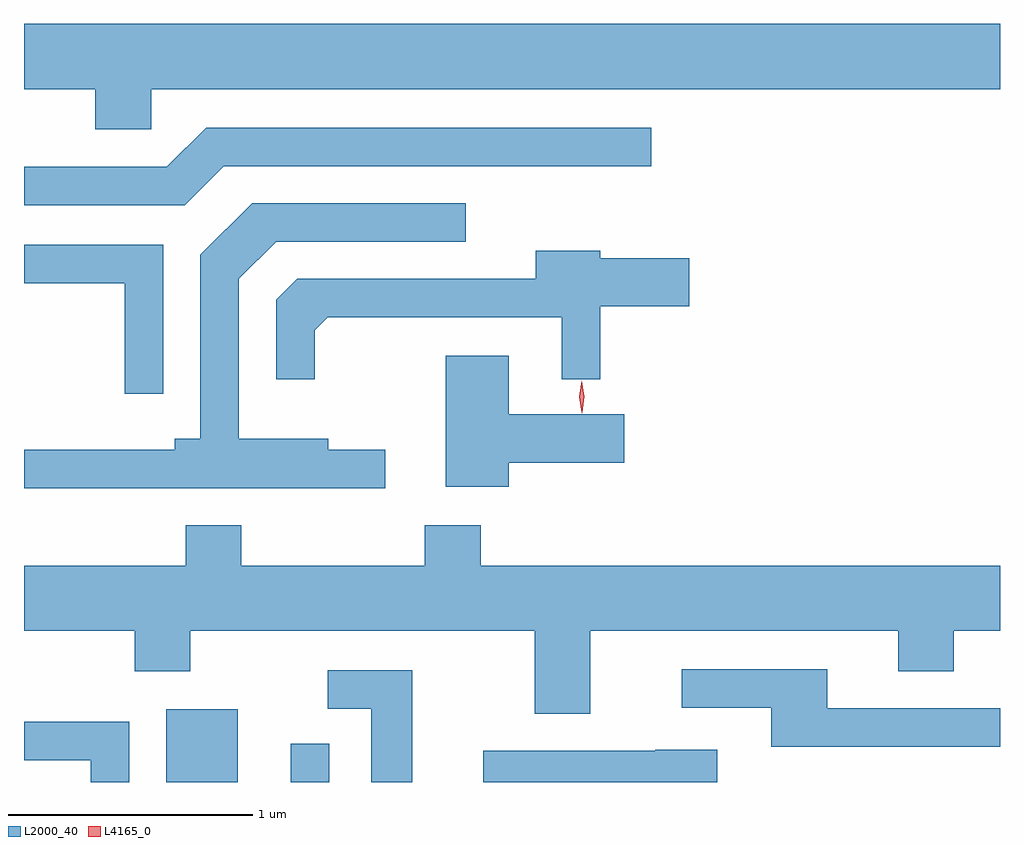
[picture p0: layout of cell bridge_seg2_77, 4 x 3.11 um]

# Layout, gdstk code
import gdstk
lib = gdstk.Library(unit=1e-6, precision=1e-09)
def R(c, l, rs):  # rectangles x0, y0, x1, y1
    for r in rs: c.add(gdstk.rectangle(r[:2], r[2:], *l))
def P(c, l, *ps):  # polygons
    for p in ps: c.add(gdstk.Polygon(p, *l))
L2000_40 = (2000, 40)
L4165_0 = (4165, 0)

bridge_seg2_77 = lib.new_cell('bridge_seg2_77')
R(bridge_seg2_77, L2000_40, [(1177.601,1027.716,1177.894,1028.014), (1178.111,1027.716,1178.269,1027.873)])
P(bridge_seg2_77, L2000_40, [(1177.539,1030.556),(1181.018,1030.556),(1181.018,1030.824),(1177.018,1030.824),(1177.018,1030.556),(1177.311,1030.556),(1177.311,1030.391),(1177.539,1030.391)],
  [(1177.837,1030.241),(1179.588,1030.241),(1179.588,1030.399),(1177.764,1030.399),(1177.604,1030.239),(1177.018,1030.239),(1177.018,1030.081),(1177.677,1030.081)],
  [(1178.498,1029.079),(1178.264,1029.079),(1178.264,1029.124),(1177.899,1029.124),(1177.899,1029.779),(1178.052,1029.931),(1178.828,1029.931),(1178.828,1030.089),(1177.954,1030.089),(1177.741,1029.877),(1177.741,1029.124),(1177.636,1029.124),(1177.636,1029.079),(1177.018,1029.079),(1177.018,1028.921),(1178.498,1028.921)],
  [(1177.589,1029.919),(1177.018,1029.919),(1177.018,1029.761),(1177.431,1029.761),(1177.431,1029.308),(1177.589,1029.308)],
  [(1178.209,1029.569),(1178.262,1029.621),(1179.221,1029.621),(1179.221,1029.368),(1179.379,1029.368),(1179.379,1029.666),(1179.744,1029.666),(1179.744,1029.864),(1179.379,1029.864),(1179.379,1029.894),(1179.116,1029.894),(1179.116,1029.779),(1178.137,1029.779),(1178.051,1029.694),(1178.051,1029.368),(1178.209,1029.368)],
  [(1179.004,1029.026),(1179.479,1029.026),(1179.479,1029.224),(1179.004,1029.224),(1179.004,1029.464),(1178.746,1029.464),(1178.746,1028.926),(1179.004,1028.926)],
  [(1179.339,1028.336),(1180.601,1028.336),(1180.601,1028.171),(1180.829,1028.171),(1180.829,1028.336),(1181.018,1028.336),(1181.018,1028.604),(1178.889,1028.604),(1178.889,1028.769),(1178.661,1028.769),(1178.661,1028.604),(1177.909,1028.604),(1177.909,1028.769),(1177.681,1028.769),(1177.681,1028.604),(1177.018,1028.604),(1177.018,1028.336),(1177.471,1028.336),(1177.471,1028.171),(1177.699,1028.171),(1177.699,1028.336),(1179.111,1028.336),(1179.111,1027.996),(1179.339,1027.996)],
  [(1181.018,1028.019),(1180.309,1028.019),(1180.309,1028.179),(1179.713,1028.179),(1179.713,1028.021),(1180.081,1028.021),(1180.081,1027.861),(1181.018,1027.861)],
  [(1178.609,1028.174),(1178.263,1028.174),(1178.263,1028.016),(1178.441,1028.016),(1178.441,1027.716),(1178.609,1027.716)],
  [(1177.449,1027.964),(1177.018,1027.964),(1177.018,1027.806),(1177.291,1027.806),(1177.291,1027.716),(1177.449,1027.716)],
  [(1179.859,1027.849),(1179.605,1027.849),(1179.605,1027.844),(1178.901,1027.844),(1178.901,1027.716),(1179.859,1027.716)])
P(bridge_seg2_77, L4165_0, [(1179.304,1029.23),(1179.294,1029.296),(1179.303,1029.362),(1179.304,1029.362),(1179.304,1029.362),(1179.314,1029.296),(1179.305,1029.23),(1179.305,1029.23)])

lib.write_gds('bridge_seg2_77.gds')
